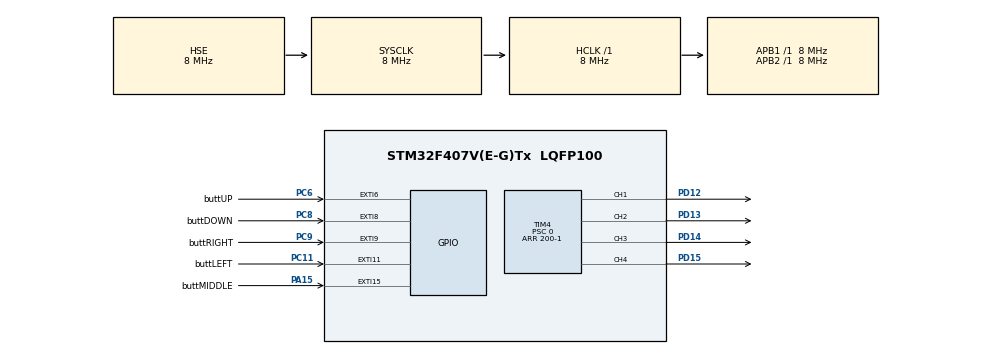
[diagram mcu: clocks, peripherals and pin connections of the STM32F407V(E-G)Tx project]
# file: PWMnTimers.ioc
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Mcu.Family=STM32F4
Mcu.Name=STM32F407V(E-G)Tx
Mcu.Package=LQFP100
NVIC.EXTI15_10_IRQn=true\:0\:0\:false\:false\:true\:true\:true
NVIC.EXTI9_5_IRQn=true\:0\:0\:false\:false\:true\:true\:true
NVIC.PriorityGroup=NVIC_PRIORITYGROUP_4
NVIC.TIM4_IRQn=true\:0\:0\:false\:false\:true\:true\:true
PA15.GPIO_Label=buttMIDDLE
PA15.GPIO_ModeDefaultEXTI=GPIO_MODE_IT_FALLING
PA15.Signal=GPXTI15
PC11.GPIO_Label=buttLEFT
PC11.GPIO_ModeDefaultEXTI=GPIO_MODE_IT_FALLING
PC11.Signal=GPXTI11
PC6.GPIO_Label=buttUP
PC6.GPIO_ModeDefaultEXTI=GPIO_MODE_IT_FALLING
PC6.Signal=GPXTI6
PC8.GPIO_Label=buttDOWN
PC8.GPIO_ModeDefaultEXTI=GPIO_MODE_IT_FALLING
PC8.Signal=GPXTI8
PC9.GPIO_Label=buttRIGHT
PC9.GPIO_ModeDefaultEXTI=GPIO_MODE_IT_FALLING
PC9.Signal=GPXTI9
PD12.GPIO_PuPd=GPIO_PULLDOWN
PD12.Signal=S_TIM4_CH1
PD13.GPIO_PuPd=GPIO_PULLDOWN
PD13.Signal=S_TIM4_CH2
PD14.GPIO_PuPd=GPIO_PULLDOWN
PD14.Signal=S_TIM4_CH3
PD15.GPIO_PuPd=GPIO_PULLDOWN
PD15.Signal=S_TIM4_CH4
PH0-OSC_IN.Mode=HSE-External-Oscillator
PH0-OSC_IN.Signal=RCC_OSC_IN
PH1-OSC_OUT.Mode=HSE-External-Oscillator
PH1-OSC_OUT.Signal=RCC_OSC_OUT
ProjectManager.HeapSize=0x200
ProjectManager.StackSize=0x400
ProjectManager.TargetToolchain=STM32CubeIDE
RCC.48MHZClocksFreq_Value=24000000
RCC.AHBFreq_Value=8000000
RCC.APB1Freq_Value=8000000
RCC.APB1TimFreq_Value=8000000
RCC.APB2Freq_Value=8000000
RCC.APB2TimFreq_Value=8000000
RCC.CortexFreq_Value=8000000
RCC.HCLKFreq_Value=8000000
RCC.HSE_VALUE=8000000
RCC.HSI_VALUE=16000000
RCC.LSE_VALUE=32768
RCC.PLLSourceVirtual=RCC_PLLSOURCE_HSE
RCC.SYSCLKFreq_VALUE=8000000
RCC.SYSCLKSource=RCC_SYSCLKSOURCE_HSE
RCC.VCOOutputFreq_Value=96000000
SH.S_TIM4_CH1.0=TIM4_CH1,PWM Generation1 CH1
SH.S_TIM4_CH2.0=TIM4_CH2,PWM Generation2 CH2
SH.S_TIM4_CH3.0=TIM4_CH3,PWM Generation3 CH3
SH.S_TIM4_CH4.0=TIM4_CH4,PWM Generation4 CH4
TIM4.Channel-PWM\ Generation1\ CH1=TIM_CHANNEL_1
TIM4.Channel-PWM\ Generation2\ CH2=TIM_CHANNEL_2
TIM4.Channel-PWM\ Generation3\ CH3=TIM_CHANNEL_3
TIM4.Channel-PWM\ Generation4\ CH4=TIM_CHANNEL_4
TIM4.Period=200-1
TIM4.Prescaler=0
board=custom

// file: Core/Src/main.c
/* USER CODE BEGIN Header */
/*
 * -----------------------------------------------------------------------------
 * PWM and timers.
 * 4 pins output: green(PD12), orange(PD13), red(PD14), blue(PD15).
 * 5 buttons: up(PC8), down(PC6), left(PC11), right(PC9), middle(PA15).
 * Initial input frequency(HSE) = 8MHz.
 * Initial ARR = 200-1.
 * Initial PCS = 0 (without prescaler).
 * Initial PWM duty cycle = 50%
 * Key control:
 * UP/DOWN - set signal frequency (+/- 5 kHz step).
 * LEFT/RIGHT - set duty cycle (+/- 5% step).
 * MIDDLE - select signal output (PD15, PD14, PD13, PD12, no output)
 * -----------------------------------------------------------------------------
 */
/**
  ******************************************************************************
  * @file           : main.c
  * @brief          : Main program body
  ******************************************************************************
  * @attention
  *
  * <h2><center>&copy; Copyright (c) 2021 STMicroelectronics.
  * All rights reserved.</center></h2>
  *
  * This software component is licensed by ST under BSD 3-Clause license,
  * the "License"; You may not use this file except in compliance with the
  * License. You may obtain a copy of the License at:
  *                        opensource.org/licenses/BSD-3-Clause
  *
  ******************************************************************************
  */
/* USER CODE END Header */
#include "main.h"

/* USER CODE BEGIN Includes */
#include "stdio.h"
#include "math.h"
/* USER CODE END Includes */

TIM_HandleTypeDef htim4;

/* USER CODE BEGIN PV */
volatile uint32_t * pwmArray[] =
{
		// Defined in main.h
		&ledGREEN_Tim,
		&ledORANGE_Tim,
		&ledRED_Tim,
		&ledBLUE_Tim
};
const uint32_t SIZEpwmArray = sizeof(pwmArray)/sizeof(pwmArray[0]);

// Menu signal output.
uint8_t favModesArray[] = {0, 1, 2, 3, 99};
const uint8_t SIZEfavModesArray = sizeof(favModesArray)/sizeof(favModesArray[0]);

// Set the default pwm mode to 0(ledGREEN_Tim).
volatile uint8_t pwmMode = 0;
volatile int8_t modeCounter = 0;
/* Enter the timer settings that you specify in the settings. */
uint32_t inputFrequency = 8000000; // Input frequency (HSI/HSE) (Hz)
uint16_t period_value = 200; // Initial period_value
uint32_t sigFrequency;
uint16_t freq_step = 5000; // Frequency step(Hz)
uint16_t pwm_max = 200; // Initial maximum PWM value. Must be = initial period_value.
uint16_t pwm_value;
float pwm_step = 0.05; // The step of changing the duty cycle (5% - 0.05)
float pwm_rate = 0.50; // Duty cycle rate 0-100% (0.00 - 1.00)

/* USER CODE END PV */

void SystemClock_Config(void);
static void MX_GPIO_Init(void);
static void MX_TIM4_Init(void);
/* USER CODE BEGIN PFP */
void recSetting();
void pwmSTOP();
void HAL_GPIO_EXTI_Callback(uint16_t GPIO_Pin);
/* USER CODE END PFP */

int main(void)
{
  /* USER CODE BEGIN 1 */
	/* The first recalculation of the PWM settings */
	recSetting();
  /* USER CODE END 1 */

  /* MCU Configuration--------------------------------------------------------*/

  /* Reset of all peripherals, Initializes the Flash interface and the Systick. */
  HAL_Init();

  /* Configure the system clock */
  SystemClock_Config();

  /* Initialize all configured peripherals */
  MX_GPIO_Init();
  MX_TIM4_Init();
  /* USER CODE BEGIN 2 */
  	HAL_TIM_PWM_Start(&htim4, TIM_CHANNEL_1);
    HAL_TIM_PWM_Start(&htim4, TIM_CHANNEL_2);
    HAL_TIM_PWM_Start(&htim4, TIM_CHANNEL_3);
    HAL_TIM_PWM_Start(&htim4, TIM_CHANNEL_4);
  /* USER CODE END 2 */

  /* Infinite loop */
  /* USER CODE BEGIN WHILE */
  while (1)
  {

	  switch (pwmMode)
	  {

	  	  // PWM : no output
	  	  case 99: pwmSTOP(); break;
	  	  // Submission of a signal to a certain output
	  	  // depending on the value of pwmMode
	  	  case 0: // Green
	  	  case 1: // Orange
	  	  case 2: // Red
	  	  case 3: // Blue
	  		  for (int i = 0; i < SIZEpwmArray; i++)
	  		  {
	  			  if (i == pwmMode)
	  				*pwmArray[pwmMode] = pwm_value;
	  			  else
	  				*pwmArray[i] = 0;
	  		  }
	  		  break;
	  }

    /* USER CODE END WHILE */

  }
}

void SystemClock_Config(void)
{
  RCC_OscInitTypeDef RCC_OscInitStruct = {0};
  RCC_ClkInitTypeDef RCC_ClkInitStruct = {0};

  /** Configure the main internal regulator output voltage
  */
  __HAL_RCC_PWR_CLK_ENABLE();
  __HAL_PWR_VOLTAGESCALING_CONFIG(PWR_REGULATOR_VOLTAGE_SCALE1);
  /** Initializes the RCC Oscillators according to the specified parameters
  * in the RCC_OscInitTypeDef structure.
  */
  RCC_OscInitStruct.OscillatorType = RCC_OSCILLATORTYPE_HSE;
  RCC_OscInitStruct.HSEState = RCC_HSE_ON;
  RCC_OscInitStruct.PLL.PLLState = RCC_PLL_NONE;
  if (HAL_RCC_OscConfig(&RCC_OscInitStruct) != HAL_OK)
  {
    Error_Handler();
  }
  /** Initializes the CPU, AHB and APB buses clocks
  */
  RCC_ClkInitStruct.ClockType = RCC_CLOCKTYPE_HCLK|RCC_CLOCKTYPE_SYSCLK
                              |RCC_CLOCKTYPE_PCLK1|RCC_CLOCKTYPE_PCLK2;
  RCC_ClkInitStruct.SYSCLKSource = RCC_SYSCLKSOURCE_HSE;
  RCC_ClkInitStruct.AHBCLKDivider = RCC_SYSCLK_DIV1;
  RCC_ClkInitStruct.APB1CLKDivider = RCC_HCLK_DIV1;
  RCC_ClkInitStruct.APB2CLKDivider = RCC_HCLK_DIV1;

  if (HAL_RCC_ClockConfig(&RCC_ClkInitStruct, FLASH_LATENCY_0) != HAL_OK)
  {
    Error_Handler();
  }
}

static void MX_TIM4_Init(void)
{

  TIM_MasterConfigTypeDef sMasterConfig = {0};
  TIM_OC_InitTypeDef sConfigOC = {0};

  htim4.Instance = TIM4;
  htim4.Init.Prescaler = 0;
  htim4.Init.CounterMode = TIM_COUNTERMODE_UP;
  htim4.Init.Period = 200-1;
  htim4.Init.ClockDivision = TIM_CLOCKDIVISION_DIV1;
  htim4.Init.AutoReloadPreload = TIM_AUTORELOAD_PRELOAD_DISABLE;
  if (HAL_TIM_PWM_Init(&htim4) != HAL_OK)
  {
    Error_Handler();
  }
  sMasterConfig.MasterOutputTrigger = TIM_TRGO_RESET;
  sMasterConfig.MasterSlaveMode = TIM_MASTERSLAVEMODE_DISABLE;
  if (HAL_TIMEx_MasterConfigSynchronization(&htim4, &sMasterConfig) != HAL_OK)
  {
    Error_Handler();
  }
  sConfigOC.OCMode = TIM_OCMODE_PWM1;
  sConfigOC.Pulse = 0;
  sConfigOC.OCPolarity = TIM_OCPOLARITY_HIGH;
  sConfigOC.OCFastMode = TIM_OCFAST_DISABLE;
  if (HAL_TIM_PWM_ConfigChannel(&htim4, &sConfigOC, TIM_CHANNEL_1) != HAL_OK)
  {
    Error_Handler();
  }
  if (HAL_TIM_PWM_ConfigChannel(&htim4, &sConfigOC, TIM_CHANNEL_2) != HAL_OK)
  {
    Error_Handler();
  }
  if (HAL_TIM_PWM_ConfigChannel(&htim4, &sConfigOC, TIM_CHANNEL_3) != HAL_OK)
  {
    Error_Handler();
  }
  if (HAL_TIM_PWM_ConfigChannel(&htim4, &sConfigOC, TIM_CHANNEL_4) != HAL_OK)
  {
    Error_Handler();
  }
  HAL_TIM_MspPostInit(&htim4);

}

static void MX_GPIO_Init(void)
{
  GPIO_InitTypeDef GPIO_InitStruct = {0};

  /* GPIO Ports Clock Enable */
  __HAL_RCC_GPIOH_CLK_ENABLE();
  __HAL_RCC_GPIOD_CLK_ENABLE();
  __HAL_RCC_GPIOC_CLK_ENABLE();
  __HAL_RCC_GPIOA_CLK_ENABLE();

  /*Configure GPIO pins : buttUP_Pin buttDOWN_Pin buttRIGHT_Pin buttLEFT_Pin */
  GPIO_InitStruct.Pin = buttUP_Pin|buttDOWN_Pin|buttRIGHT_Pin|buttLEFT_Pin;
  GPIO_InitStruct.Mode = GPIO_MODE_IT_FALLING;
  GPIO_InitStruct.Pull = GPIO_NOPULL;
  HAL_GPIO_Init(GPIOC, &GPIO_InitStruct);

  /*Configure GPIO pin : buttMIDDLE_Pin */
  GPIO_InitStruct.Pin = buttMIDDLE_Pin;
  GPIO_InitStruct.Mode = GPIO_MODE_IT_FALLING;
  GPIO_InitStruct.Pull = GPIO_NOPULL;
  HAL_GPIO_Init(buttMIDDLE_GPIO_Port, &GPIO_InitStruct);

  /* EXTI interrupt init*/
  HAL_NVIC_SetPriority(EXTI9_5_IRQn, 0, 0);
  HAL_NVIC_EnableIRQ(EXTI9_5_IRQn);

  HAL_NVIC_SetPriority(EXTI15_10_IRQn, 0, 0);
  HAL_NVIC_EnableIRQ(EXTI15_10_IRQn);

}

/* USER CODE BEGIN 4 */
void recSetting()
{
	/* Recalculation of settings */
	sigFrequency = round((inputFrequency/(float)period_value))-1;
	pwm_max = period_value;
	pwm_value = round(pwm_max*pwm_rate);
}
void pwmSTOP()
{
	/* Set 0 pwm. */
	for (int i = 0; i < SIZEpwmArray; i++)
	{
		*pwmArray[i] = 0;
	}
}
void HAL_GPIO_EXTI_Callback(uint16_t GPIO_Pin)
{
	/* External interrupt handler function. */
	/* Tracking on which pin the interrupt was triggered. */
	switch (GPIO_Pin)
	{
	/*--- DUTY CYCLE CONTROL BEGIN ---*/
		case buttLEFT_Pin:
			if (pwm_rate - pwm_step > 0)
				pwm_rate -= pwm_step;
			else
				pwm_rate = 0;
			break;
		case buttRIGHT_Pin:
			if (pwm_rate + pwm_step < 1)
				pwm_rate += pwm_step;
			else
				pwm_rate = 1;
			break;
	/*--- DUTY CYCLE CONTROL END ---*/
	/*--- SIGNAL FREQUENCY CONTROL BEGIN ---*/
		case buttUP_Pin: // Increase the signal frequency.
			if (sigFrequency <= freq_step)
				sigFrequency = freq_step-1;
			else
				sigFrequency -= freq_step;
			period_value = round(inputFrequency/(float)sigFrequency);
			// Set the period and reload the register.
			TIM4->ARR = period_value-1;
			TIM4->EGR = TIM_EGR_UG;
			break;
		case buttDOWN_Pin: // Decrease the signal frequency.
			if (sigFrequency >= inputFrequency)
				sigFrequency = inputFrequency-1;
			else
				sigFrequency += freq_step;
			period_value = round(inputFrequency/(float)sigFrequency);
			// Set the period and reload the register.
			TIM4->ARR = period_value-1;
			TIM4->EGR = TIM_EGR_UG;
			break;
	/*--- SIGNAL FREQUENCY CONTROL END ---*/
	/*--- SWITCH SIGNAL OUTPUT BEGIN ---*/
		case buttMIDDLE_Pin:
			// Get the next mode number.
			if (++modeCounter >= SIZEfavModesArray)
				modeCounter = 0;
			pwmMode = favModesArray[modeCounter];
			break;
		default:
			__NOP();
			break;
	/*--- SWITCH SIGNAL OUTPUT END ---*/
	}
	// Make changes to the PWM settings by recalculating them.
	recSetting();
}
/* USER CODE END 4 */

void Error_Handler(void)
{
  __disable_irq();
  while (1)
  {
  }
}

/************************ (C) COPYRIGHT STMicroelectronics *****END OF FILE****/
